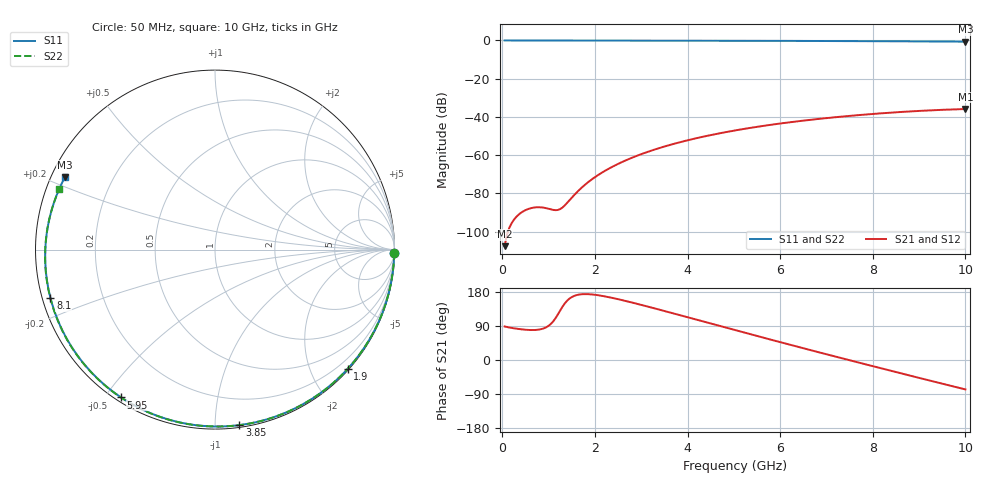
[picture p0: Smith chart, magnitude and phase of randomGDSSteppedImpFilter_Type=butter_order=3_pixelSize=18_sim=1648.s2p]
! freq	dB(S11)	phase(S11)	dB(S12)	phase(S12)
!  dB(S21)	phase(S21)	dB(S22)	phase(S22)
!S-par simulation data
#  GHz  S  DB  R 50
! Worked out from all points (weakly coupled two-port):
!   200 points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, 50 MHz to 10 GHz, reference 50 ohm
!   highest |S21| = -35.89 dB at 10 GHz (marker M1); lowest = -107.7 dB at 50 MHz (marker M2)
!   lowest |S11| = -0.6 dB at 10 GHz (marker M3), VSWR 26.94, Z = 1.95 + j11.4 ohm
!   |S11| at or under -10 dB: nowhere
!   |S22| runs from -0.6 to 0.0 dB; largest |S21 - S12| = 0
!   S11 on the Smith chart (normalised r, x): 50 MHz: open; 1.9 GHz: 0.02, -2.61; 3.85 GHz: 0.01, -1.15; 5.95 GHz: 0.02, -0.55; 8.1 GHz: 0.02, -0.14; 10 GHz: 0.04, +0.23
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0.05  -0.01 -1.1  -107.66 88.5  -107.66 88.5  -0.00 -1.1
0.8  -0.02 -17.9  -87.29 80.4  -87.29 80.4  -0.02 -18.6
1.55  -0.04 -34.3  -80.98 169.0  -80.98 169.0  -0.05 -35.7
1.6  -0.04 -35.4  -79.71 171.1  -79.71 171.1  -0.05 -36.8
1.75  -0.05 -38.7  -76.26 173.8  -76.26 173.8  -0.05 -40.2
1.9  -0.05 -41.9  -73.30 173.4  -73.30 173.4  -0.06 -43.5
2.2  -0.06 -48.3  -68.47 168.2  -68.47 168.2  -0.06 -50.1
2.55  -0.07 -55.7  -64.03 159.1  -64.03 159.1  -0.07 -57.7
2.95  -0.08 -64.0  -59.96 147.0  -59.96 147.0  -0.09 -66.2
3.4  -0.10 -73.1  -56.25 132.6  -56.25 132.6  -0.10 -75.5
3.85  -0.11 -82.1  -53.17 117.9  -53.17 117.9  -0.11 -84.6
4.45  -0.14 -93.9  -49.78 98.0  -49.78 98.0  -0.14 -96.5
5.05  -0.16 -105.4  -46.99 78.2  -46.99 78.2  -0.16 -107.9
5.95  -0.21 -122.4  -43.63 48.8  -43.63 48.8  -0.21 -124.7
6.7  -0.27 -136.5  -41.41 24.7  -41.41 24.7  -0.26 -138.4
7.4  -0.33 -149.9  -39.69 2.5  -39.69 2.5  -0.32 -151.1
8.1  -0.40 -163.6  -38.28 -19.4  -38.28 -19.4  -0.39 -164.0
8.35  -0.42 -168.7  -37.85 -27.1  -37.85 -27.1  -0.41 -168.6
8.8  -0.48 -178.1  -37.15 -41.1  -37.15 -41.1  -0.47 -177.2
9.2  -0.53 173.1  -36.63 -53.3  -36.63 -53.3  -0.51 175.0
9.6  -0.59 163.9  -36.21 -65.5  -36.21 -65.5  -0.57 167.0
10  -0.65 154.3  -35.89 -77.6  -35.89 -77.6  -0.62 158.7
